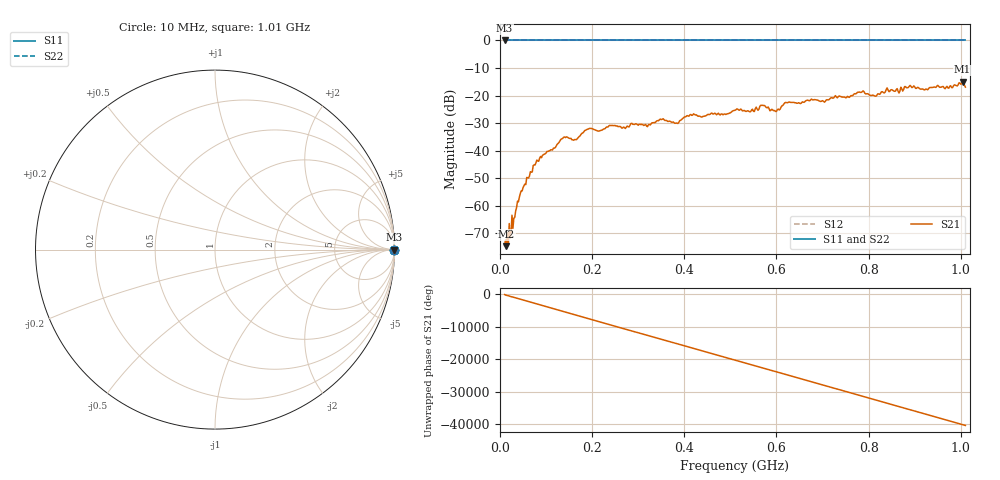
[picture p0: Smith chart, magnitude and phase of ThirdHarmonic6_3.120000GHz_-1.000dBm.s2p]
! 8/17/2025 9:15:31 AM
! C:\ANRITSUVNA\TEMP\TEMP.S2P
! CHANNEL.1
! TR.MEASUREMENT
! RAW.DATA
! RF.CORRECTION.OFF
! AVERAGING.OFF
! IF.BANDWIDTH: 5KHZ
! SWEEPTYPE:  FREQ.SWEEP(Linear)
! Reference Plane Port Info
! PORT:  PORT1  PORT2
! DISTANCE:  0  m  0  m
! TIME:  0  s  0  s
! PHASE.OFFSET:  0  deg.  0  deg.
! LOSS:  0  dB  0  dB
! REF.LOSS:  0  dB  0  dB
! REF.FREQ:  0  Hz  0  Hz
! Power Info
! POWER:  -20  dBm  -20  dBm
! EFF.POWER:  -20  dBm  -20  dBm
! SOURCE.ATTEN:  0  dB  0  dB
! TEST.ATTEN:  0  dB  0  dB
# GHZ S RI R 50.0
! FREQ.GHZ  S11RE  S11IM  S21RE  S21IM  S12RE  S12IM  S22RE  S22IM
!; PortSelection: Port_12
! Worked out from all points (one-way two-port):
!   501 points, 10 MHz to 1.01 GHz, reference 50 ohm
!   highest |S21| = -15.00 dB at 1.004 GHz (marker M1); lowest = -74.7 dB at 14 MHz (marker M2)
!   lowest |S11| = 0.0 dB at 10 MHz (marker M3)
!   |S11| at or under -10 dB: nowhere
!   |S22| runs from 0.0 to 0.0 dB; largest |S21 - S12| = 1.2
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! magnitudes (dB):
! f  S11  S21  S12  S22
! 10 MHz  0.0  -74.5  0.0  0.0
! 14 MHz  0.0  -74.7  0.0  0.0
! 26 MHz  0.0  -63.5  0.0  0.0
! 42 MHz  0.0  -57.0  0.0  0.0
! 76 MHz  0.0  -45.3  0.0  0.0
! 136 MHz  0.0  -35.6  0.0  0.0
! 162 MHz  0.0  -36.0  0.0  0.0
! 178 MHz  0.0  -33.7  0.0  0.0
! 344 MHz  0.0  -29.2  0.0  0.0
! 384 MHz  0.0  -30.0  0.0  0.0
! 416 MHz  0.0  -27.2  0.0  0.0
! 510 MHz  0.0  -25.4  0.0  0.0
! 548 MHz  0.0  -25.0  0.0  0.0
! 570 MHz  0.0  -23.5  0.0  0.0
! 598 MHz  0.0  -25.8  0.0  0.0
! 622 MHz  0.0  -22.6  0.0  0.0
! 678 MHz  0.0  -21.6  0.0  0.0
! 784 MHz  0.0  -18.9  0.0  0.0
! 814 MHz  0.0  -20.2  0.0  0.0
! 844 MHz  0.0  -18.6  0.0  0.0
! 1.004 GHz  0.0  -15.0  0.0  0.0
! 1.01 GHz  0.0  -17.0  0.0  0.0
